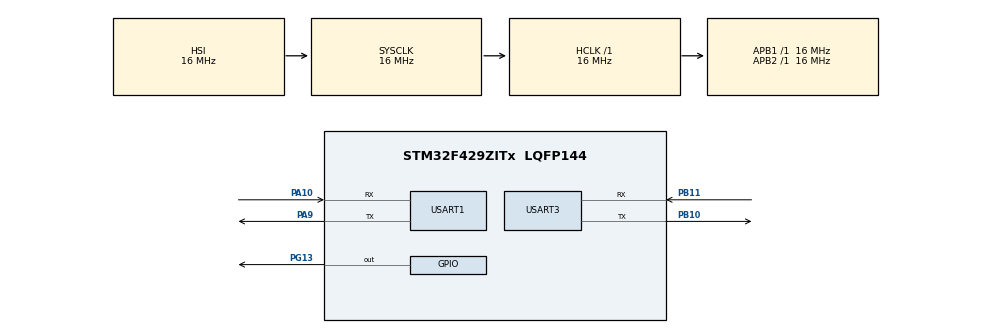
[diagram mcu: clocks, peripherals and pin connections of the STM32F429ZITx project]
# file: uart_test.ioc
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Mcu.Family=STM32F4
Mcu.Name=STM32F429ZITx
Mcu.Package=LQFP144
NVIC.PriorityGroup=NVIC_PRIORITYGROUP_4
NVIC.USART1_IRQn=true\:0\:0\:false\:false\:true\:true\:true\:true
NVIC.USART3_IRQn=true\:0\:0\:false\:false\:true\:true\:true\:true
PA10.Mode=Asynchronous
PA10.Signal=USART1_RX
PA9.Mode=Asynchronous
PA9.Signal=USART1_TX
PB10.Mode=Asynchronous
PB10.Signal=USART3_TX
PB11.Mode=Asynchronous
PB11.Signal=USART3_RX
PG13.Signal=GPIO_Output
ProjectManager.HeapSize=0x200
ProjectManager.StackSize=0x400
ProjectManager.TargetToolchain=STM32CubeIDE
RCC.AHBFreq_Value=16000000
RCC.APB1Freq_Value=16000000
RCC.APB2Freq_Value=16000000
RCC.CortexFreq_Value=16000000
RCC.HSE_VALUE=25000000
RCC.HSI_VALUE=16000000
RCC.LSE_VALUE=32768
RCC.SYSCLKFreq_VALUE=16000000
RCC.VCOOutputFreq_Value=192000000
USART1.VirtualMode=VM_ASYNC
USART3.VirtualMode=VM_ASYNC
board=custom

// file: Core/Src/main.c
/* USER CODE BEGIN Header */
/**
  ******************************************************************************
  * @file           : main.c
  * @brief          : Main program body
  ******************************************************************************
  * @attention
  *
  * Copyright (c) 2022 STMicroelectronics.
  * All rights reserved.
  *
  * This software is licensed under terms that can be found in the LICENSE file
  * in the root directory of this software component.
  * If no LICENSE file comes with this software, it is provided AS-IS.
  *
  ******************************************************************************
  */
/* USER CODE END Header */
#include "main.h"

/* USER CODE BEGIN Includes */
#include <stdbool.h>
#include <stdio.h>
/* USER CODE END Includes */

UART_HandleTypeDef huart1;
UART_HandleTypeDef huart3;

void SystemClock_Config(void);
static void MX_GPIO_Init(void);
static void MX_USART1_UART_Init(void);
static void MX_USART3_UART_Init(void);
/* USER CODE BEGIN PFP */
void Channel1Func(void);
void Channel2Func(void);
void Channel3Func(void);
void Channel4Func(void);
void Channel5Func(void);
void Channel6Func(void);

void (*fptr[6])(void) = {
	Channel1Func, 			// 0
	Channel2Func, 			// 1
	Channel3Func, 			// 2
	Channel4Func, 			// 3
	Channel5Func, 			// 4
	Channel6Func, 			// 5
};

int16_t Ra_Con(char* Cmd);
unsigned char hextoint(unsigned char *hex);
void Report500msForPC(uint16_t RetNum, uint8_t *RxInd);
/* USER CODE END PFP */

/* USER CODE BEGIN 0 */
__IO ITStatus Uart3TxReady = RESET;
__IO ITStatus Uart3RxReady = RESET;

uint8_t UART3RxBuf[17] = {0,0,0,0,0,0,0,0,}, UART3RxBuf1 = 0;
uint8_t RcvData[7] = { 0, };
int32_t gCntRx1 = 0;
bool bFromPCCmdFailCplt = true;
bool gCmdRX1Info = false;

uint16_t SinDat[100]={1000,1063,1125,1187,1249,1309,1368,1426,1482,1536
					,1588,1637,1685,1729,1771,1809,1844,1876,1905,1930
					,1951,1969,1982,1992,1998,2000,1998,1992,1982,1969
					,1951,1930,1905,1876,1844,1809,1771,1729,1685,1637
					,1588,1536,1482,1426,1368,1309,1249,1187,1125,1063
					,1000,937 ,875 ,813 ,751 ,691 ,632 ,574 ,518 ,464
					,412 ,363	,315 ,271 ,229 ,191 ,156 ,124 ,95  ,70
					,49  ,31  ,18  ,8   ,2   ,0   ,2   ,8   ,18  ,31
					,49  ,70  ,95  ,124 ,156 ,191 ,229 ,271 ,315 ,363
					,412 ,464 ,518 ,574 ,632 ,691 ,751 ,813 ,875 ,937};
int32_t gi=0;
/* USER CODE END 0 */

int main(void)
{
  /* USER CODE BEGIN 1 */
	int16_t i=0, RetNum = 0;
		uint8_t RxInd = 0xFF;
  /* USER CODE END 1 */

  /* MCU Configuration--------------------------------------------------------*/

  /* Reset of all peripherals, Initializes the Flash interface and the Systick. */
  HAL_Init();

  /* Configure the system clock */
  SystemClock_Config();

  /* Initialize all configured peripherals */
  MX_GPIO_Init();
  MX_USART1_UART_Init();
  MX_USART3_UART_Init();

  /* Infinite loop */
  while (1)
  {

    /* USER CODE BEGIN 3 */
	  HAL_UART_Receive_IT(&huart3,&UART3RxBuf1,1);

	  		if (Uart3RxReady==SET) {
	  			if (UART3RxBuf1==0x73) {
	  				Report500msForPC(RetNum,&RxInd);
	  			} else {

	  				if ((UART3RxBuf1=='q')||(gCmdRX1Info==true)) {
	  					gCmdRX1Info = true;
	  					UART3RxBuf[gCntRx1] = UART3RxBuf1;
	  					Uart3RxReady = RESET;
	  					if (gCntRx1==16) {
	  						gCntRx1 = 0;
	  						RetNum = Ra_Con((char*)UART3RxBuf);
	  						if (RetNum==-1) {
	  							bFromPCCmdFailCplt = false; // There is something wrong with received data.
	  						} else {
	  							bFromPCCmdFailCplt = true;
	  							RxInd = RcvData[0];
	  							fptr[RxInd]();
	  						}
	  						for (i = 0; i<18; i++) {
	  							UART3RxBuf[i] = 0;
	  						}
	  						for (i = 0; i<8; i++) {
	  							RcvData[i] = 0;
	  						}
	  						gCmdRX1Info = false;
	  					} else {
	  						gCntRx1++;
	  					}
	  					UART3RxBuf1 = 0;
	  				}

	  			}
	  		}
  }
  /* USER CODE END 3 */
}

void SystemClock_Config(void)
{
  RCC_OscInitTypeDef RCC_OscInitStruct = {0};
  RCC_ClkInitTypeDef RCC_ClkInitStruct = {0};

  /** Configure the main internal regulator output voltage
  */
  __HAL_RCC_PWR_CLK_ENABLE();
  __HAL_PWR_VOLTAGESCALING_CONFIG(PWR_REGULATOR_VOLTAGE_SCALE3);

  /** Initializes the RCC Oscillators according to the specified parameters
  * in the RCC_OscInitTypeDef structure.
  */
  RCC_OscInitStruct.OscillatorType = RCC_OSCILLATORTYPE_HSI;
  RCC_OscInitStruct.HSIState = RCC_HSI_ON;
  RCC_OscInitStruct.HSICalibrationValue = RCC_HSICALIBRATION_DEFAULT;
  RCC_OscInitStruct.PLL.PLLState = RCC_PLL_NONE;
  if (HAL_RCC_OscConfig(&RCC_OscInitStruct) != HAL_OK)
  {
    Error_Handler();
  }

  /** Initializes the CPU, AHB and APB buses clocks
  */
  RCC_ClkInitStruct.ClockType = RCC_CLOCKTYPE_HCLK|RCC_CLOCKTYPE_SYSCLK
                              |RCC_CLOCKTYPE_PCLK1|RCC_CLOCKTYPE_PCLK2;
  RCC_ClkInitStruct.SYSCLKSource = RCC_SYSCLKSOURCE_HSI;
  RCC_ClkInitStruct.AHBCLKDivider = RCC_SYSCLK_DIV1;
  RCC_ClkInitStruct.APB1CLKDivider = RCC_HCLK_DIV1;
  RCC_ClkInitStruct.APB2CLKDivider = RCC_HCLK_DIV1;

  if (HAL_RCC_ClockConfig(&RCC_ClkInitStruct, FLASH_LATENCY_0) != HAL_OK)
  {
    Error_Handler();
  }
}

static void MX_USART1_UART_Init(void)
{

  huart1.Instance = USART1;
  huart1.Init.BaudRate = 115200;
  huart1.Init.WordLength = UART_WORDLENGTH_8B;
  huart1.Init.StopBits = UART_STOPBITS_1;
  huart1.Init.Parity = UART_PARITY_NONE;
  huart1.Init.Mode = UART_MODE_TX_RX;
  huart1.Init.HwFlowCtl = UART_HWCONTROL_NONE;
  huart1.Init.OverSampling = UART_OVERSAMPLING_16;
  if (HAL_UART_Init(&huart1) != HAL_OK)
  {
    Error_Handler();
  }

}

static void MX_USART3_UART_Init(void)
{

  huart3.Instance = USART3;
  huart3.Init.BaudRate = 115200;
  huart3.Init.WordLength = UART_WORDLENGTH_8B;
  huart3.Init.StopBits = UART_STOPBITS_1;
  huart3.Init.Parity = UART_PARITY_NONE;
  huart3.Init.Mode = UART_MODE_TX_RX;
  huart3.Init.HwFlowCtl = UART_HWCONTROL_NONE;
  huart3.Init.OverSampling = UART_OVERSAMPLING_16;
  if (HAL_UART_Init(&huart3) != HAL_OK)
  {
    Error_Handler();
  }

}

static void MX_GPIO_Init(void)
{
  GPIO_InitTypeDef GPIO_InitStruct = {0};

  /* GPIO Ports Clock Enable */
  __HAL_RCC_GPIOB_CLK_ENABLE();
  __HAL_RCC_GPIOA_CLK_ENABLE();
  __HAL_RCC_GPIOG_CLK_ENABLE();

  /*Configure GPIO pin Output Level */
  HAL_GPIO_WritePin(GPIOG, GPIO_PIN_13, GPIO_PIN_RESET);

  /*Configure GPIO pin : PG13 */
  GPIO_InitStruct.Pin = GPIO_PIN_13;
  GPIO_InitStruct.Mode = GPIO_MODE_OUTPUT_PP;
  GPIO_InitStruct.Pull = GPIO_NOPULL;
  GPIO_InitStruct.Speed = GPIO_SPEED_FREQ_LOW;
  HAL_GPIO_Init(GPIOG, &GPIO_InitStruct);

}

/* USER CODE BEGIN 4 */
void Report500msForPC(uint16_t RetNum, uint8_t *RxInd) {
	uint16_t i = 0, Tmp = 0, YearMon = 0, DayHour = 0, MinuteSecond = 0;
	uint8_t ch = 0, STX = 0x2, ETX=0x3, ChkSum=0;
		HAL_UART_Transmit(&huart3, (uint8_t*)&STX, 1, 10);
		for (i = 0; i<1; i++) {
			switch (i) {
			case 0:
				Tmp = SinDat[gi];
				gi++;
				gi%=100;
				break;
			default:
				break;
			}
			ch = (uint8_t)Tmp;
			ChkSum +=ch;
			HAL_UART_Transmit(&huart3, (uint8_t*)&ch, 1, 10);
			ch = Tmp>>8;
			ChkSum +=ch;
			HAL_UART_Transmit(&huart3, (uint8_t*)&ch, 1, 10);
		}
		HAL_UART_Transmit(&huart3, (uint8_t*)&ETX, 1, 10);
		HAL_UART_Transmit(&huart3, (uint8_t*)&ChkSum, 1, 10);
		Uart3RxReady = RESET;
		UART3RxBuf1 = 0;
}

void HAL_UART_RxCpltCallback(UART_HandleTypeDef *huart) {
	if (huart->Instance==USART3) {
		Uart3RxReady = SET;
	}
}

int16_t Ra_Con(char* Cmd) {
	int i, ChkSum = 0;
	unsigned char Tmp = 0;

	if ((Cmd[0]=='q')&&(Cmd[15]=='w')) {
		for (i = 1; i<15; i++)
			ChkSum += Cmd[i];
		Tmp = (unsigned char)ChkSum;
		if (Tmp==((unsigned char)Cmd[16])) {
			for (i = 0; i<7; i++) {
				RcvData[i] = hextoint((unsigned char *)(Cmd+2*i+1));
			}
		} else {
			return -1;
		}
		return RcvData[0];
	} else {
		return -1;
	}
}

unsigned char hextoint(unsigned char *hex) {
	unsigned char 	r = 0;
	unsigned char		d;
	int i = 0;

	for (i = 0; i<2; i++)	{
		d = *hex++;
		r <<= 4;
		if ((d>='0')&&(d<='9'))
			r += d-'0';
		else if ((d>='A')&&(d<='F'))
			r += d-'A'+10;
		else if ((d>='a')&&(d<='f'))
			r += d-'a'+10;
		else
			return -1;
	}
	return r;
}

// Channel 1 function :
void Channel1Func(void) {

}

// Channel 2 function :
void Channel2Func(void) {

}

// Channel 3 function :
void Channel3Func(void) {

}

// Channel 4 function :
void Channel4Func(void) {

}

// Channel 5 function :
void Channel5Func(void) {

}

// Channel 6 function :
void Channel6Func(void) {

}

/* USER CODE END 4 */

void Error_Handler(void)
{
  __disable_irq();
  while (1)
  {
  }
}
